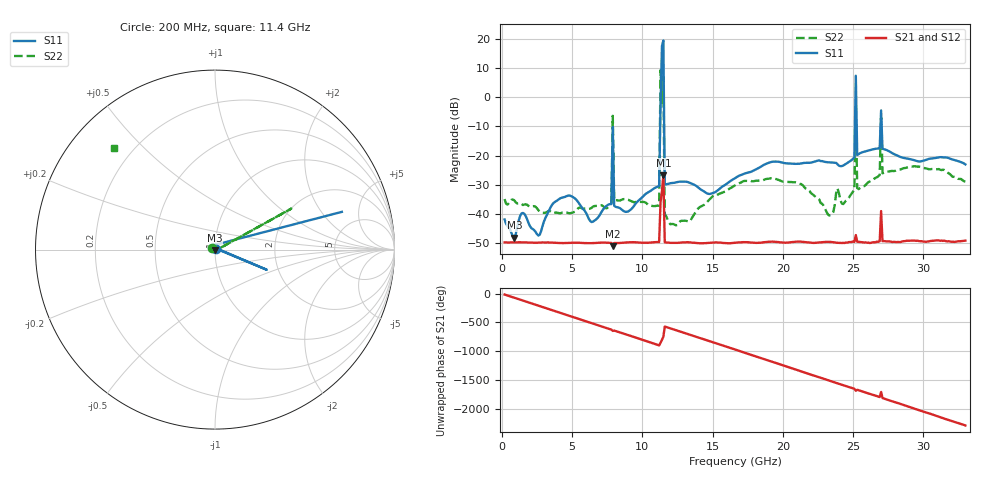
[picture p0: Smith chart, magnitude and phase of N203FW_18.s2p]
# GHZ S RI R 50
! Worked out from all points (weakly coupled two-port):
!   329 points, 200 MHz to 33 GHz, reference 50 ohm
!   highest |S21| = -26.82 dB at 11.5 GHz (marker M1); lowest = -51.2 dB at 7.9 GHz (marker M2)
!   lowest |S11| = -48.4 dB at 900 MHz (marker M3), VSWR 1.01, Z = 49.9 - j0.357 ohm
!   |S11| at or under -10 dB: start of sweep to 11.27 GHz; 11.56 GHz to 25.14 GHz (13.58 GHz wide, 74 % of centre); 27.04 GHz to end of sweep (the widest 3 of 4)
!   |S22| runs from -44.1 to 9.5 dB; largest |S21 - S12| = 0.011
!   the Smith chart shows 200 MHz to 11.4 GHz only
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0.2  0.00505 0.00608  0.00305 -0.000895  0.00306 -0.000888  -0.0149 0.00973
0.9  -0.00133 -0.00358  0.000971 -0.00304  0.000972 -0.00305  -0.0123 0.0113
5.7  0.00534 0.0115  -0.000438 -0.00309  -0.000454 -0.00309  0.00567 -0.0109
7.8  -0.00908 0.0114  -0.000206 0.00311  -0.000214 0.00312  -0.00838 -0.0123
7.9  0.2886 -0.1125  0.000832 0.00261  0.000817 0.00252  0.4256 0.2286
8  -0.00492 0.0127  0.000655 0.00303  0.000655 0.00304  -0.0111 -0.0128
11.2  0.00862 0.0285  -0.00322 -5.5e-05  -0.00323 -5.99e-05  -0.0118 0.00674
11.3  0.7068 0.2103  -0.0109 -0.0113  -0.0112 -0.00852  0.4636 2.936
11.4  3.906 6.619  0.00348 -0.0239  0.00255 -0.0232  -0.5647 0.5656
11.5  9.219 -2.685  0.0388 -0.024  0.0382 -0.0245  -0.2484 -2.248
11.6  0.0276 0.0154  -0.00271 0.0017  -0.00271 0.0017  -0.00774 0.00619
16.6  -0.0338 0.0225  -0.00105 0.00296  -0.00104 0.00295  -0.0302 0.00508
22.1  -0.0303 -0.0701  0.00282 0.00135  0.00283 0.00135  0.0187 0.0109
23.3  -0.0274 0.0713  0.00107 -0.00306  0.00108 -0.00306  0.00927 -0.000373
25.1  -0.0403 -0.0835  -0.00269 0.00182  -0.00272 0.00183  -0.0246 -0.00856
25.2  2.271 0.6773  -0.0016 0.00394  -0.00141 0.00396  0.2835 0.5363
25.3  -0.0761 -0.0678  -0.00209 0.00251  -0.00207 0.0025  -0.0272 -0.00388
26.9  0.0629 0.1164  0.00332 0.000191  0.00328 0.00016  -0.0412 0.0205
27  0.4308 -0.4148  -0.000406 0.011  -0.000833 0.000182  -0.2325 0.3773
27.1  0.0996 0.0843  0.00324 -0.00078  0.00323 -0.000801  -0.0415 0.0265
27.6  0.1137 -0.0284  0.00184 -0.00275  0.00189 -0.00271  -0.0372 0.0381
33  0.0164 0.0683  -0.0022 -0.00261  -0.0022 -0.00259  0.0332 0.0123
